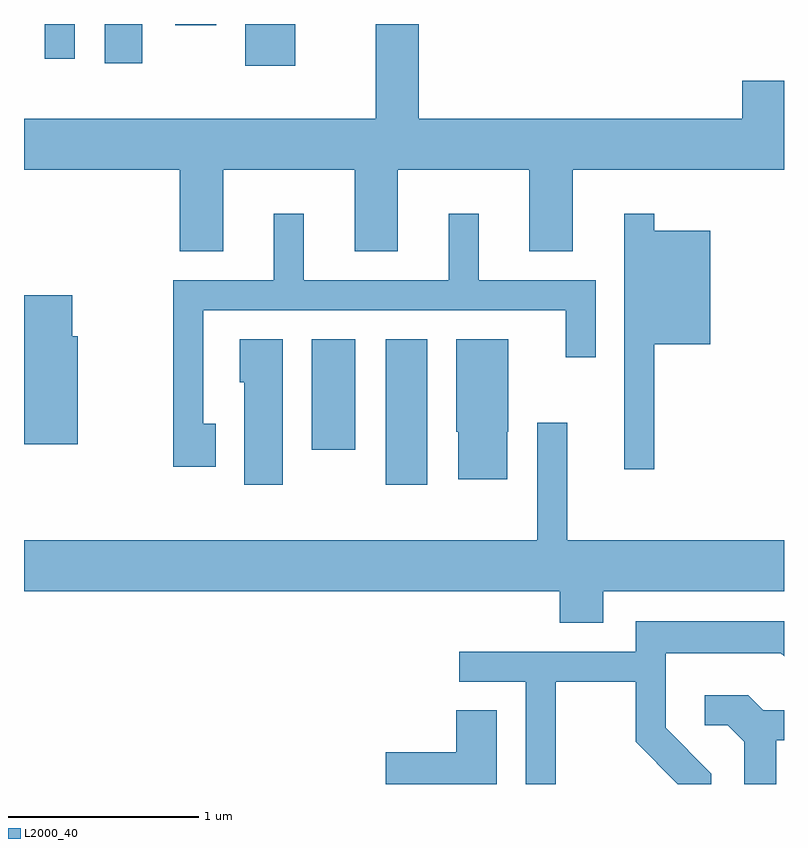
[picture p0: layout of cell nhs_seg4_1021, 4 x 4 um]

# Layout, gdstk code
import gdstk
lib = gdstk.Library(unit=1e-6, precision=1e-09)
def R(c, l, rs):  # rectangles x0, y0, x1, y1
    for r in rs: c.add(gdstk.rectangle(r[:2], r[2:], *l))
def P(c, l, *ps):  # polygons
    for p in ps: c.add(gdstk.Polygon(p, *l))
L2000_40 = (2000, 40)

nhs_seg4_1021 = lib.new_cell('nhs_seg4_1021')
R(nhs_seg4_1021, L2000_40, [(217.516,1257.556,217.734,1258.324), (217.126,1257.741,217.354,1258.324), (216.776,1259.761,217.039,1259.982), (216.036,1259.776,216.234,1259.982), (215.721,1259.798,215.879,1259.982), (216.406,1259.976,216.624,1259.982)])
P(nhs_seg4_1021, L2000_40, [(216.659,1259.216),(217.351,1259.216),(217.351,1258.786),(217.579,1258.786),(217.579,1259.216),(218.271,1259.216),(218.271,1258.786),(218.499,1258.786),(218.499,1259.216),(219.611,1259.216),(219.611,1259.684),(219.391,1259.684),(219.391,1259.484),(217.689,1259.484),(217.689,1259.982),(217.461,1259.982),(217.461,1259.484),(215.611,1259.484),(215.611,1259.216),(216.431,1259.216),(216.431,1258.786),(216.659,1258.786)],
  [(218.929,1258.296),(219.224,1258.296),(219.224,1258.894),(218.929,1258.894),(218.929,1258.983),(218.771,1258.983),(218.771,1257.638),(218.929,1257.638)],
  [(216.619,1257.879),(216.554,1257.879),(216.554,1258.476),(218.461,1258.476),(218.461,1258.228),(218.619,1258.228),(218.619,1258.634),(218.004,1258.634),(218.004,1258.983),(217.846,1258.983),(217.846,1258.634),(217.084,1258.634),(217.084,1258.983),(216.926,1258.983),(216.926,1258.634),(216.396,1258.634),(216.396,1257.651),(216.619,1257.651)],
  [(215.894,1258.339),(215.864,1258.339),(215.864,1258.554),(215.611,1258.554),(215.611,1257.771),(215.894,1257.771)],
  [(218.154,1257.835),(218.159,1257.835),(218.159,1258.324),(217.886,1258.324),(217.886,1257.835),(217.896,1257.835),(217.896,1257.586),(218.154,1257.586)],
  [(216.974,1258.324),(216.746,1258.324),(216.746,1258.096),(216.771,1258.096),(216.771,1257.556),(216.974,1257.556)],
  [(218.659,1256.996),(219.611,1256.996),(219.611,1257.264),(218.469,1257.264),(218.469,1257.883),(218.311,1257.883),(218.311,1257.264),(215.611,1257.264),(215.611,1256.996),(218.431,1256.996),(218.431,1256.831),(218.659,1256.831)],
  [(218.409,1256.521),(218.831,1256.521),(218.831,1256.204),(219.053,1255.982),(219.229,1255.982),(219.229,1256.037),(218.989,1256.277),(218.989,1256.671),(219.594,1256.671),(219.611,1256.654),(219.611,1256.839),(218.831,1256.839),(218.831,1256.679),(217.903,1256.679),(217.903,1256.521),(218.251,1256.521),(218.251,1255.982),(218.409,1255.982)],
  [(219.569,1256.211),(219.611,1256.211),(219.611,1256.369),(219.502,1256.369),(219.422,1256.449),(219.193,1256.449),(219.193,1256.291),(219.314,1256.291),(219.401,1256.204),(219.401,1255.982),(219.569,1255.982)],
  [(218.099,1256.369),(217.886,1256.369),(217.886,1256.149),(217.516,1256.149),(217.516,1255.982),(218.099,1255.982)])

lib.write_gds('nhs_seg4_1021.gds')
